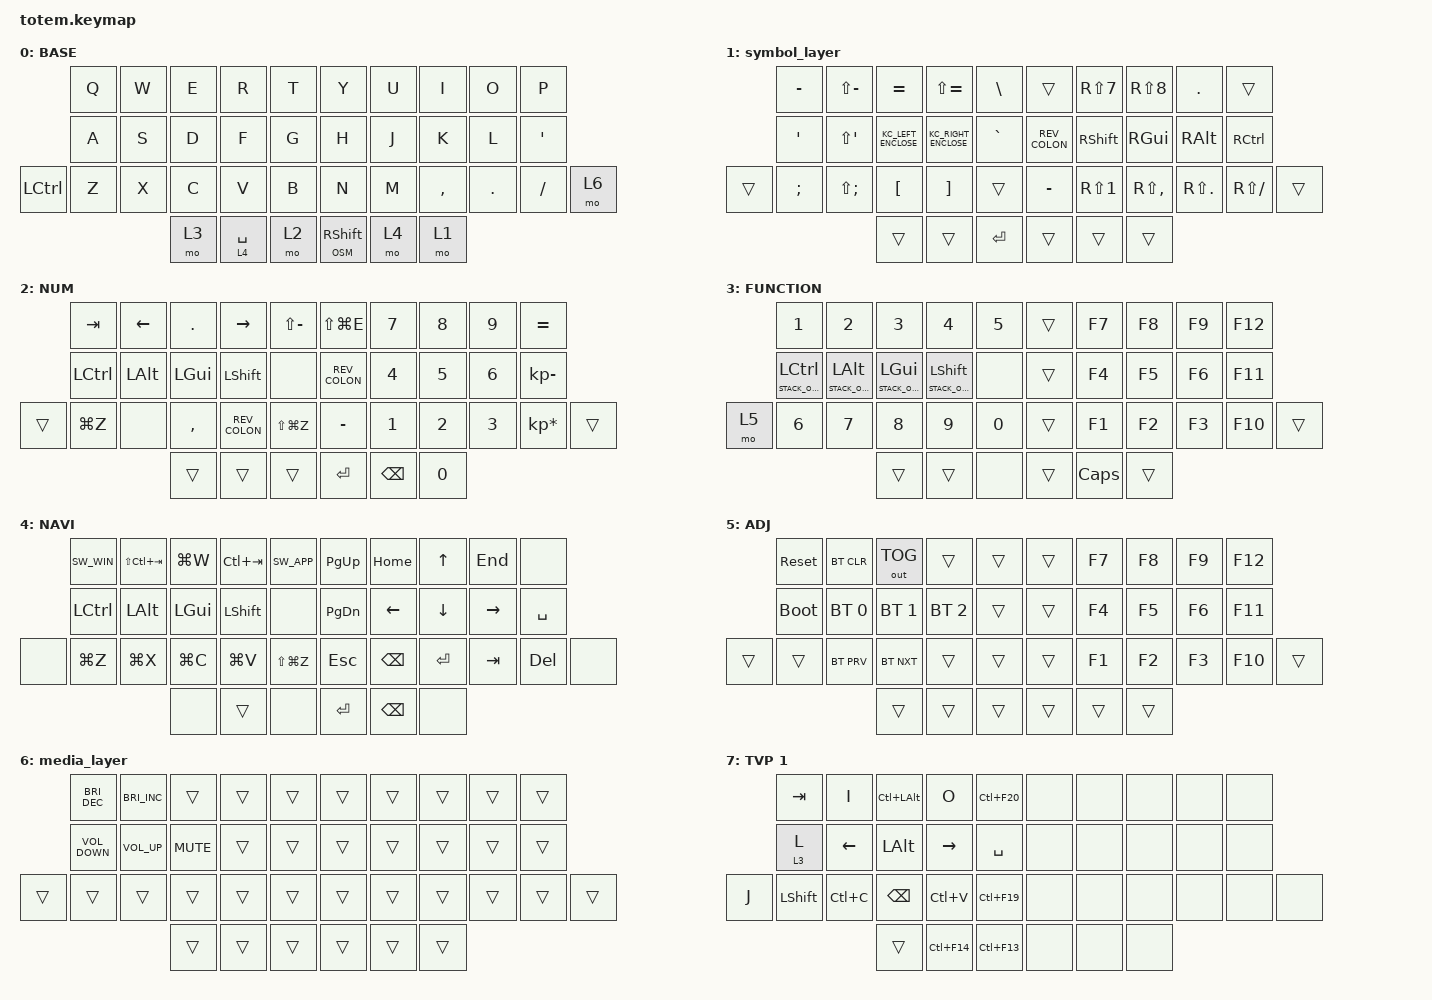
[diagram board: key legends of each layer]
//
//                                                        ▀▀▀▀▀     ▀▀▀▀▀          ▀▀█▀▀
//                                                        ▄▀▀▀▄  ▄  ▄▀▀▀▄  ▄  ▄▀▀▀▄  █  ▄▀▀▀▄
//                                                        █   █  █  █   █  █  █   █  █  █   █
//                                                         ▀▀▀   █   ▀▀▀   █   ▀▀▀   ▀   ▀▀▀
//                                                               █      ▄▄▄█▄▄▄    █   █  
//                                                               ▀      █  █  █     █▄█
//                                                             ▀▀▀▀▀    █  █  █      ▀
//                                                                      ▀  ▀  ▀
//
// ▄▄▄▄▄▄▄▄▄▄▄▄▄▄▄▄▄▄▄▄▄▄▄▄▄▄▄▄▄▄▄▄▄▄▄▄▄▄▄▄▄▄▄▄▄▄▄▄▄▄▄▄▄▄▄▄▄▄▄▄▄▄▄▄▄▄▄▄▄▄▄▄▄▄▄▄▄▄▄▄▄▄▄▄▄▄▄▄▄▄▄▄▄▄▄▄▄▄▄▄▄▄▄▄▄▄▄▄▄▄▄▄▄▄▄▄▄▄▄▄▄▄▄▄▄▄▄▄▄▄▄▄▄▄▄▄▄▄▄▄▄▄▄▄▄▄▄▄▄

#include <behaviors.dtsi>
#include <dt-bindings/zmk/bt.h>
#include <dt-bindings/zmk/keys.h>
#include <dt-bindings/zmk/outputs.h>

#define BASE 0
#define NAV  1
#define SYM  2
#define ADJ  3
#define TVP1 4
#define TVP2 5

&mt {
    quick-tap-ms = <100>;
    global-quick-tap;
    flavor = "tap-preferred";
    tapping-term-ms = <170>;
};

/ {
    combos {
        compatible = "zmk,combos";

        combo_esc {
            timeout-ms = <20>;
            key-positions = <1 2>;
            bindings = <&kp ESC>;
            layers = <0>;
        };

        s_f_raycast {
            timeout-ms = <20>;
            key-positions = <11 13>;
            bindings = <&kp LA(SPACE)>;
            layers = <0>;
        };

        comma_dot_semicolon {
            bindings = <&kp SEMICOLON>;
            key-positions = <28 29>;
            timeout-ms = <20>;
            layers = <0>;
        };

        ui_equal {
            bindings = <&kp EQUAL>;
            key-positions = <6 7>;
            timeout-ms = <20>;
            layers = <0>;
        };

        comma_slash_question {
            bindings = <&kp QUESTION>;
            key-positions = <29 30>;
            timeout-ms = <20>;
            layers = <0>;
        };

        opt_space {
            bindings = <&kp LG(SPACE)>;
            key-positions = <11 13>;
            timeout-ms = <20>;
            layers = <0>;
        };

        m_comma_hypen {
            bindings = <&kp MINUS>;
            key-positions = <27 28>;
            timeout-ms = <20>;
            layers = <0>;
        };

        lang_en_kr {
            bindings = <&kp LG(SPACE)>;
            key-positions = <13 12>;
            timeout-ms = <20>;
            layers = <0>;
        };

        jkl_cmd {
            bindings = <&OSM LGUI>;
            key-positions = <16 17 18>;
            timeout-ms = <20>;
            layers = <0>;
        };

        xv_ctrl {
            bindings = <&OSM_CTRL LCTRL>;
            key-positions = <22 24>;
            timeout-ms = <20>;
            layers = <0>;
        };

        zv_tab {
            bindings = <&kp TAB>;
            key-positions = <21 24>;
            timeout-ms = <20>;
            layers = <0>;
        };
    };

    behaviors {
        SW_APP: SW_APP {
            compatible = "zmk,behavior-tri-state";
            label = "SW_APP";
            #binding-cells = <0>;
            bindings = <&kt LGUI>, <&kp TAB>, <&kt LGUI>;

            ignored-key-positions = <7 16 17 18>;
        };

        SW_WIN: SW_WIN {
            compatible = "zmk,behavior-tri-state";
            label = "SW_WIN";
            #binding-cells = <0>;
            bindings = <&kt LGUI>, <&kp GRAVE>, <&kt LGUI>;

            ignored-key-positions = <13>;
            ignored-layers = <NAV>;
        };

        OSM: OSM {
            compatible = "zmk,behavior-sticky-key";
            label = "OSM";
            bindings = <&kp>;
            #binding-cells = <1>;
            quick-release;
            release-after-ms = <900>;
            ignore-modifiers;
        };

        KC_LEFT_ENCLOSE: KC_LEFT_ENCLOSE {
            compatible = "zmk,behavior-mod-morph";
            label = "KC_LEFT_ENCLOSE";
            bindings = <&kp LEFT_PARENTHESIS>, <&kp LEFT_BRACE>;

            #binding-cells = <0>;
            mods = <(MOD_LSFT|MOD_RSFT)>;
        };

        KC_RIGHT_ENCLOSE: KC_RIGHT_ENCLOSE {
            compatible = "zmk,behavior-mod-morph";
            label = "KC_RIGHT_ENCLOSE";
            bindings = <&kp RIGHT_PARENTHESIS>, <&kp RIGHT_BRACE>;

            #binding-cells = <0>;
            mods = <(MOD_LSFT|MOD_RSFT)>;
        };

        REV_COLON: REV_COLON {
            compatible = "zmk,behavior-mod-morph";
            label = "REV_COLON";
            bindings = <&kp COLON>, <&kp SEMICOLON>;

            #binding-cells = <0>;
            mods = <(MOD_LSFT|MOD_RSFT)>;
        };

        OSM_CTRL: OSM_CTRL {
            compatible = "zmk,behavior-sticky-key";
            label = "OSM_CTRL";
            bindings = <&kp>;
            #binding-cells = <1>;
            quick-release;
            release-after-ms = <2000>;
        };

        STACK_OSM: STACK_OSM {
            compatible = "zmk,behavior-sticky-key";
            label = "STACK_OSM";
            bindings = <&kp>;
            #binding-cells = <1>;
            quick-release;
            ignore-modifiers;
            release-after-ms = <900>;
        };
    };

    keymap {
        compatible = "zmk,keymap";

        // ▄▄▄▄▄▄▄▄▄▄▄▄▄▄▄▄▄▄▄▄▄▄▄▄▄▄▄▄▄▄▄▄▄▄▄▄▄▄▄▄▄▄▄▄▄▄▄▄▄▄▄▄▄▄▄▄▄▄▄▄▄▄▄▄▄▄▄▄▄▄▄▄▄▄▄▄▄▄▄▄▄▄▄▄▄▄▄▄▄▄▄▄▄▄▄▄▄▄▄▄▄▄▄▄▄▄▄▄▄▄▄▄▄▄▄▄▄▄▄▄▄▄▄▄▄▄▄▄▄▄▄▄▄▄▄▄▄▄▄▄▄▄▄▄▄▄▄▄▄

        base_layer {
            // ┏━━━━━━━━━━━━━━━━━━━━━━━━━━━━━━━━━━━━━━━┓

            label = "BASE";

            // ┗━━━━━━━━━━━━━━━━━━━━━━━━━━━━━━━━━━━━━━━┛
            //             ┏━━━━━━━━━━━┳━━━━━━━━━━━┳━━━━━━━━━━━┳━━━━━━━━━━━┳━━━━━━━━━━━┓   ┏━━━━━━━━━━━┳━━━━━━━━━━━┳━━━━━━━━━━━┳━━━━━━━━━━━┳━━━━━━━━━━━┓
            //             ┃     Q     ┃     W     ┃     F     ┃     P     ┃     G     ┃   ┃     J     ┃     L     ┃     U     ┃     Y     ┃     ;     ┃
            //             ┣━━━━━━━━━━━╋━━━━━━━━━━━╋━━━━━━━━━━━╋━━━━━━━━━━━╋━━━━━━━━━━━┫   ┣━━━━━━━━━━━╋━━━━━━━━━━━╋━━━━━━━━━━━╋━━━━━━━━━━━╋━━━━━━━━━━━┫
            //             ┃     A     ┃     R     ┃     S     ┃     T     ┃     D     ┃   ┃     H     ┃     N     ┃     E     ┃     I     ┃     O     ┃
            // ┏━━━━━━━━━━━╋━━━━━━━━━━━╋━━━━━━━━━━━╋━━━━━━━━━━━╋━━━━━━━━━━━╋━━━━━━━━━━━┫   ┣━━━━━━━━━━━╋━━━━━━━━━━━╋━━━━━━━━━━━╋━━━━━━━━━━━╋━━━━━━━━━━━╋━━━━━━━━━━━┓
            // ┃     Q     ┃     Z     ┃     X     ┃     C     ┃     V     ┃     B     ┃   ┃     K     ┃     M     ┃     ,     ┃     .     ┃     /     ┃     \     ┃
            // ┗━━━━━━━━━━━┻━━━━━━━━━━━┻━━━━━━━━━━━╋━━━━━━━━━━━╋━━━━━━━━━━━╋━━━━━━━━━━━┫   ┣━━━━━━━━━━━╋━━━━━━━━━━━╋━━━━━━━━━━━╋━━━━━━━━━━━┻━━━━━━━━━━━┻━━━━━━━━━━━┛
            //                                     ┃    DEL    ┃    TAB    ┃    SPC    ┃   ┃   ENTER   ┃           ┃   BSPC    ┃
            //                                     ┗━━━━━━━━━━━┻━━━━━━━━━━━┻━━━━━━━━━━━┛   ┗━━━━━━━━━━━┻━━━━━━━━━━━┻━━━━━━━━━━━┛

            bindings = <
           &kp Q  &kp W  &kp E  &kp R        &kp T    &kp Y             &kp U  &kp I      &kp O    &kp P
           &kp A  &kp S  &kp D  &kp F        &kp G    &kp H             &kp J  &kp K      &kp L    &kp SINGLE_QUOTE
&kp LCTRL  &kp Z  &kp X  &kp C  &kp V        &kp B    &kp N             &kp M  &kp COMMA  &kp DOT  &kp FSLH          &mo 6
                         &mo 3  &lt 4 SPACE  &mo 2    &OSM RIGHT_SHIFT  &mo 4  &mo 1
            >;
        };

        symbol_layer {
            bindings = <
        &kp MINUS         &kp LS(MINUS)         &kp EQUAL         &kp LS(EQUAL)      &kp BACKSLASH    &trans      &kp RS(NUMBER_7)  &kp RS(NUMBER_8)  &kp PERIOD      &trans
        &kp SINGLE_QUOTE  &kp LS(SINGLE_QUOTE)  &KC_LEFT_ENCLOSE  &KC_RIGHT_ENCLOSE  &kp GRAVE        &REV_COLON  &kp RSHIFT        &kp RGUI          &kp RALT        &kp RCTRL
&trans  &kp SEMICOLON     &kp LS(SEMICOLON)     &kp LEFT_BRACKET  &kp RIGHT_BRACKET  &trans           &kp MINUS   &kp RS(NUMBER_1)  &kp RS(COMMA)     &kp RS(PERIOD)  &kp RS(SLASH)  &trans
                                                &trans            &trans             &kp ENTER        &trans      &trans            &trans
            >;
        };

        num_layer {
            // ┏━━━━━━━━━━━━━━━━━━━━━━━━━━━━━━━━━━━━━━━┓

            label = "NUM";

            // ┗━━━━━━━━━━━━━━━━━━━━━━━━━━━━━━━━━━━━━━━┛
            //             ┏━━━━━━━━━━━┳━━━━━━━━━━━┳━━━━━━━━━━━┳━━━━━━━━━━━┳━━━━━━━━━━━┓   ┏━━━━━━━━━━━┳━━━━━━━━━━━┳━━━━━━━━━━━┳━━━━━━━━━━━┳━━━━━━━━━━━┓
            //             ┃           ┃           ┃     UP    ┃           ┃     {     ┃   ┃     }     ┃     7     ┃     8     ┃     9     ┃     +     ┃
            //             ┣━━━━━━━━━━━╋━━━━━━━━━━━╋━━━━━━━━━━━╋━━━━━━━━━━━╋━━━━━━━━━━━┫   ┣━━━━━━━━━━━╋━━━━━━━━━━━╋━━━━━━━━━━━╋━━━━━━━━━━━╋━━━━━━━━━━━┫
            //             ┃   SHIFT   ┃   LEFT    ┃    DOWN   ┃   RIGHT   ┃     [     ┃   ┃     ]     ┃     4     ┃     5     ┃     6     ┃     -     ┃
            // ┏━━━━━━━━━━━╋━━━━━━━━━━━╋━━━━━━━━━━━╋━━━━━━━━━━━╋━━━━━━━━━━━╋━━━━━━━━━━━┫   ┣━━━━━━━━━━━╋━━━━━━━━━━━╋━━━━━━━━━━━╋━━━━━━━━━━━╋━━━━━━━━━━━╋━━━━━━━━━━━┓
            // ┃           ┃           ┃   P UP    ┃  C LOCK   ┃  P DOWN   ┃     (     ┃   ┃     )     ┃     1     ┃     2     ┃     3     ┃     *     ┃           ┃
            // ┗━━━━━━━━━━━┻━━━━━━━━━━━┻━━━━━━━━━━━╋━━━━━━━━━━━╋━━━━━━━━━━━╋━━━━━━━━━━━┫   ┣━━━━━━━━━━━╋━━━━━━━━━━━╋━━━━━━━━━━━╋━━━━━━━━━━━┻━━━━━━━━━━━┻━━━━━━━━━━━┛
            //                                     ┃           ┃    TAB    ┃    SPC    ┃   ┃    DEL    ┃     0     ┃           ┃
            //                                     ┗━━━━━━━━━━━┻━━━━━━━━━━━┻━━━━━━━━━━━┛   ┗━━━━━━━━━━━┻━━━━━━━━━━━┻━━━━━━━━━━━┛

            bindings = <
        &kp TAB    &kp LEFT  &kp DOT    &kp RIGHT   &kp LS(MINUS)    &kp LS(LG(E))  &kp N7         &kp N8  &kp N9  &kp EQUAL
        &kp LCTRL  &kp LALT  &kp LGUI   &kp LSHFT   &none            &REV_COLON     &kp N4         &kp N5  &kp N6  &kp KP_MINUS
&trans  &kp LG(Z)  &none     &kp COMMA  &REV_COLON  &kp LS(LG(Z))    &kp MINUS      &kp N1         &kp N2  &kp N3  &kp KP_MULTIPLY  &trans
                             &trans     &trans      &trans           &kp ENTER      &kp BACKSPACE  &kp N0
            >;
        };

        fun_layer {
            // ┏━━━━━━━━━━━━━━━━━━━━━━━━━━━━━━━━━━━━━━━┓

            label = "FUNCTION";

            // ┗━━━━━━━━━━━━━━━━━━━━━━━━━━━━━━━━━━━━━━━┛
            //             ┏━━━━━━━━━━━┳━━━━━━━━━━━┳━━━━━━━━━━━┳━━━━━━━━━━━┳━━━━━━━━━━━┓   ┏━━━━━━━━━━━┳━━━━━━━━━━━┳━━━━━━━━━━━┳━━━━━━━━━━━┳━━━━━━━━━━━┓
            //             ┃ SOLO      ┃ TOGGLE IN ┃ RESET ROT ┃ TOGGLE OUT┃ TAKE SNAP ┃   ┃           ┃           ┃           ┃           ┃           ┃
            //             ┣━━━━━━━━━━━╋━━━━━━━━━━━╋━━━━━━━━━━━╋━━━━━━━━━━━╋━━━━━━━━━━━┫   ┣━━━━━━━━━━━╋━━━━━━━━━━━╋━━━━━━━━━━━╋━━━━━━━━━━━╋━━━━━━━━━━━┫
            //             ┃ ---       ┃ LAST KEY  ┃ NEW KEY   ┃ NEXT KEY  ┃ ENTER     ┃   ┃           ┃           ┃           ┃           ┃           ┃
            // ┏━━━━━━━━━━━╋━━━━━━━━━━━╋━━━━━━━━━━━╋━━━━━━━━━━━╋━━━━━━━━━━━╋━━━━━━━━━━━┫   ┣━━━━━━━━━━━╋━━━━━━━━━━━╋━━━━━━━━━━━╋━━━━━━━━━━━╋━━━━━━━━━━━╋━━━━━━━━━━━┓
            // ┃           ┃ FULLSCR   ┃ CPY2BRUSH ┃ DEL HEAD  ┃ PSTinPLACE┃ BOOK MARK ┃   ┃           ┃           ┃           ┃           ┃           ┃           ┃
            // ┗━━━━━━━━━━━┻━━━━━━━━━━━┻━━━━━━━━━━━╋━━━━━━━━━━━╋━━━━━━━━━━━╋━━━━━━━━━━━┫   ┣━━━━━━━━━━━╋━━━━━━━━━━━╋━━━━━━━━━━━╋━━━━━━━━━━━┻━━━━━━━━━━━┻━━━━━━━━━━━┛
            //                                     ┃           ┃ REDO/SAV1 ┃TRANS/WARP ┃   ┃           ┃           ┃           ┃
            //                                     ┗━━━━━━━━━━━┻━━━━━━━━━━━┻━━━━━━━━━━━┛   ┗━━━━━━━━━━━┻━━━━━━━━━━━┻━━━━━━━━━━━┛

            bindings = <
       &kp NUMBER_1      &kp NUMBER_2     &kp NUMBER_3     &kp NUMBER_4           &kp NUMBER_5    &trans  &kp F7        &kp F8  &kp F9  &kp F12
       &STACK_OSM LCTRL  &STACK_OSM LALT  &STACK_OSM LGUI  &STACK_OSM LEFT_SHIFT  &none           &trans  &kp F4        &kp F5  &kp F6  &kp F11
&mo 5  &kp NUMBER_6      &kp NUMBER_7     &kp NUMBER_8     &kp NUMBER_9           &kp NUMBER_0    &trans  &kp F1        &kp F2  &kp F3  &kp F10  &trans
                                          &trans           &trans                 &none           &trans  &kp CAPSLOCK  &trans
            >;
        };

        navi_layer {
            // ┏━━━━━━━━━━━━━━━━━━━━━━━━━━━━━━━━━━━━━━━┓

            label = "NAVI";

            // ┗━━━━━━━━━━━━━━━━━━━━━━━━━━━━━━━━━━━━━━━┛
            //             ┏━━━━━━━━━━━┳━━━━━━━━━━━┳━━━━━━━━━━━┳━━━━━━━━━━━┳━━━━━━━━━━━┓   ┏━━━━━━━━━━━┳━━━━━━━━━━━┳━━━━━━━━━━━┳━━━━━━━━━━━┳━━━━━━━━━━━┓
            //             ┃     !     ┃     @     ┃     #     ┃     $     ┃     %     ┃   ┃     ˆ     ┃     &     ┃     Ü     ┃     '     ┃     "     ┃
            //             ┣━━━━━━━━━━━╋━━━━━━━━━━━╋━━━━━━━━━━━╋━━━━━━━━━━━╋━━━━━━━━━━━┫   ┣━━━━━━━━━━━╋━━━━━━━━━━━╋━━━━━━━━━━━╋━━━━━━━━━━━╋━━━━━━━━━━━┫
            //             ┃     Ä     ┃           ┃    SZ     ┃           ┃           ┃   ┃   MUTE    ┃   YEN     ┃   EURO    ┃  POUND    ┃     Ö     ┃
            // ┏━━━━━━━━━━━╋━━━━━━━━━━━╋━━━━━━━━━━━╋━━━━━━━━━━━╋━━━━━━━━━━━╋━━━━━━━━━━━┫   ┣━━━━━━━━━━━╋━━━━━━━━━━━╋━━━━━━━━━━━╋━━━━━━━━━━━╋━━━━━━━━━━━╋━━━━━━━━━━━┓
            // ┃           ┃  EMAIL1   ┃  EMAIL2   ┃           ┃           ┃           ┃   ┃   VOL-    ┃   VOL+    ┃   LAST    ┃   NEXT    ┃     \     ┃           ┃
            // ┗━━━━━━━━━━━┻━━━━━━━━━━━┻━━━━━━━━━━━╋━━━━━━━━━━━╋━━━━━━━━━━━╋━━━━━━━━━━━┫   ┣━━━━━━━━━━━╋━━━━━━━━━━━╋━━━━━━━━━━━╋━━━━━━━━━━━┻━━━━━━━━━━━┻━━━━━━━━━━━┛
            //                                     ┃           ┃    GIF    ┃    ADJ    ┃   ┃           ┃           ┃           ┃
            //                                     ┗━━━━━━━━━━━┻━━━━━━━━━━━┻━━━━━━━━━━━┛   ┗━━━━━━━━━━━┻━━━━━━━━━━━┻━━━━━━━━━━━┛

            bindings = <
       &SW_WIN    &kp LS(LC(TAB))  &kp LG(W)  &kp LC(TAB)  &SW_APP          &kp PG_UP      &kp HOME        &kp UP_ARROW    &kp END    &none
       &kp LCTRL  &kp LALT         &kp LGUI   &kp LSHFT    &none            &kp PAGE_DOWN  &kp LEFT_ARROW  &kp DOWN_ARROW  &kp RIGHT  &kp SPACE
&none  &kp LG(Z)  &kp LG(X)        &kp LG(C)  &kp LG(V)    &kp LS(LG(Z))    &kp ESCAPE     &kp BACKSPACE   &kp ENTER       &kp TAB    &kp DEL    &none
                                   &none      &trans       &none            &kp ENTER      &kp BACKSPACE   &none
            >;
        };

        adjust_layer {
            // ┏━━━━━━━━━━━━━━━━━━━━━━━━━━━━━━━━━━━━━━━┓

            label = "ADJ";

            // ┗━━━━━━━━━━━━━━━━━━━━━━━━━━━━━━━━━━━━━━━┛
            //             ┏━━━━━━━━━━━┳━━━━━━━━━━━┳━━━━━━━━━━━┳━━━━━━━━━━━┳━━━━━━━━━━━┓   ┏━━━━━━━━━━━┳━━━━━━━━━━━┳━━━━━━━━━━━┳━━━━━━━━━━━┳━━━━━━━━━━━┓
            //             ┃   RESET   ┃ BT CLEAR  ┃  OUT TOG  ┃           ┃           ┃   ┃           ┃    F7     ┃    F8     ┃    F9     ┃    F12    ┃
            //             ┣━━━━━━━━━━━╋━━━━━━━━━━━╋━━━━━━━━━━━╋━━━━━━━━━━━╋━━━━━━━━━━━┫   ┣━━━━━━━━━━━╋━━━━━━━━━━━╋━━━━━━━━━━━╋━━━━━━━━━━━╋━━━━━━━━━━━┫
            //             ┃ BOOTLOAD  ┃ BT NEXT   ┃           ┃           ┃           ┃   ┃           ┃    F4     ┃    F5     ┃    F6     ┃    F11    ┃
            // ┏━━━━━━━━━━━╋━━━━━━━━━━━╋━━━━━━━━━━━╋━━━━━━━━━━━╋━━━━━━━━━━━╋━━━━━━━━━━━┫   ┣━━━━━━━━━━━╋━━━━━━━━━━━╋━━━━━━━━━━━╋━━━━━━━━━━━╋━━━━━━━━━━━╋━━━━━━━━━━━┓
            // ┃           ┃           ┃ BT PREV   ┃           ┃           ┃           ┃   ┃           ┃    F1     ┃    F2     ┃    F3     ┃    F10    ┃           ┃
            // ┗━━━━━━━━━━━┻━━━━━━━━━━━┻━━━━━━━━━━━╋━━━━━━━━━━━╋━━━━━━━━━━━╋━━━━━━━━━━━┫   ┣━━━━━━━━━━━╋━━━━━━━━━━━╋━━━━━━━━━━━╋━━━━━━━━━━━┻━━━━━━━━━━━┻━━━━━━━━━━━┛
            //                                     ┃           ┃           ┃           ┃   ┃           ┃           ┃           ┃
            //                                     ┗━━━━━━━━━━━┻━━━━━━━━━━━┻━━━━━━━━━━━┛   ┗━━━━━━━━━━━┻━━━━━━━━━━━┻━━━━━━━━━━━┛

            bindings = <
        &sys_reset   &bt BT_CLR    &out OUT_TOG  &trans        &trans    &trans  &kp F7  &kp F8  &kp F9  &kp F12
        &bootloader  &bt BT_SEL 0  &bt BT_SEL 1  &bt BT_SEL 2  &trans    &trans  &kp F4  &kp F5  &kp F6  &kp F11
&trans  &trans       &bt BT_PRV    &bt BT_NXT    &trans        &trans    &trans  &kp F1  &kp F2  &kp F3  &kp F10  &trans
                                   &trans        &trans        &trans    &trans  &trans  &trans
            >;
        };

        media_layer {
            bindings = <
        &kp C_BRIGHTNESS_DEC  &kp C_BRIGHTNESS_INC  &trans      &trans  &trans    &trans  &trans  &trans  &trans  &trans
        &kp C_VOLUME_DOWN     &kp C_VOLUME_UP       &kp K_MUTE  &trans  &trans    &trans  &trans  &trans  &trans  &trans
&trans  &trans                &trans                &trans      &trans  &trans    &trans  &trans  &trans  &trans  &trans  &trans
                                                    &trans      &trans  &trans    &trans  &trans  &trans
            >;
        };

        tvp1_layer {
            // ┏━━━━━━━━━━━━━━━━━━━━━━━━━━━━━━━━━━━━━━━┓

            label = "TVP 1";

            // ┗━━━━━━━━━━━━━━━━━━━━━━━━━━━━━━━━━━━━━━━┛
            //             ┏━━━━━━━━━━━┳━━━━━━━━━━━┳━━━━━━━━━━━┳━━━━━━━━━━━┳━━━━━━━━━━━┓   ┏━━━━━━━━━━━┳━━━━━━━━━━━┳━━━━━━━━━━━┳━━━━━━━━━━━┳━━━━━━━━━━━┓
            //             ┃ NEXT FILE ┃ MARK IN   ┃ ROTATE    ┃ MARK OUT  ┃ SHOW SNAP ┃   ┃           ┃           ┃           ┃           ┃           ┃
            //             ┣━━━━━━━━━━━╋━━━━━━━━━━━╋━━━━━━━━━━━╋━━━━━━━━━━━╋━━━━━━━━━━━┫   ┣━━━━━━━━━━━╋━━━━━━━━━━━╋━━━━━━━━━━━╋━━━━━━━━━━━╋━━━━━━━━━━━┫
            //             ┃ TVP II    ┃ LEFT      ┃ PAN       ┃ RIGHT     ┃ PLAY/FLIP ┃   ┃           ┃           ┃           ┃           ┃           ┃
            // ┏━━━━━━━━━━━╋━━━━━━━━━━━╋━━━━━━━━━━━╋━━━━━━━━━━━╋━━━━━━━━━━━╋━━━━━━━━━━━┫   ┣━━━━━━━━━━━╋━━━━━━━━━━━╋━━━━━━━━━━━╋━━━━━━━━━━━╋━━━━━━━━━━━╋━━━━━━━━━━━┓
            // ┃ FULLSCR   ┃ SHIFT     ┃ COPY      ┃ DELETE    ┃ PASTE     ┃ IMG MARK  ┃   ┃           ┃           ┃           ┃           ┃           ┃           ┃
            // ┗━━━━━━━━━━━┻━━━━━━━━━━━┻━━━━━━━━━━━╋━━━━━━━━━━━╋━━━━━━━━━━━╋━━━━━━━━━━━┫   ┣━━━━━━━━━━━╋━━━━━━━━━━━╋━━━━━━━━━━━╋━━━━━━━━━━━┻━━━━━━━━━━━┻━━━━━━━━━━━┛
            //                                     ┃           ┃ UNDO/SAVE ┃  SEL/MOV  ┃   ┃           ┃           ┃           ┃
            //                                     ┗━━━━━━━━━━━┻━━━━━━━━━━━┻━━━━━━━━━━━┛   ┗━━━━━━━━━━━┻━━━━━━━━━━━┻━━━━━━━━━━━┛

            bindings = <
       &kp TAB    &kp I      &kp LC(LALT)  &kp O        &kp LC(F20)    &none  &none  &none  &none  &none
       &lt 3 L    &kp LEFT   &kp LALT      &kp RIGHT    &kp SPACE      &none  &none  &none  &none  &none
&kp J  &kp LSHFT  &kp LC(C)  &kp BSPC      &kp LC(V)    &kp LC(F19)    &none  &none  &none  &none  &none  &none
                             &trans        &kp LC(F14)  &kp LC(F13)    &none  &none  &none
            >;
        };
    };
};
